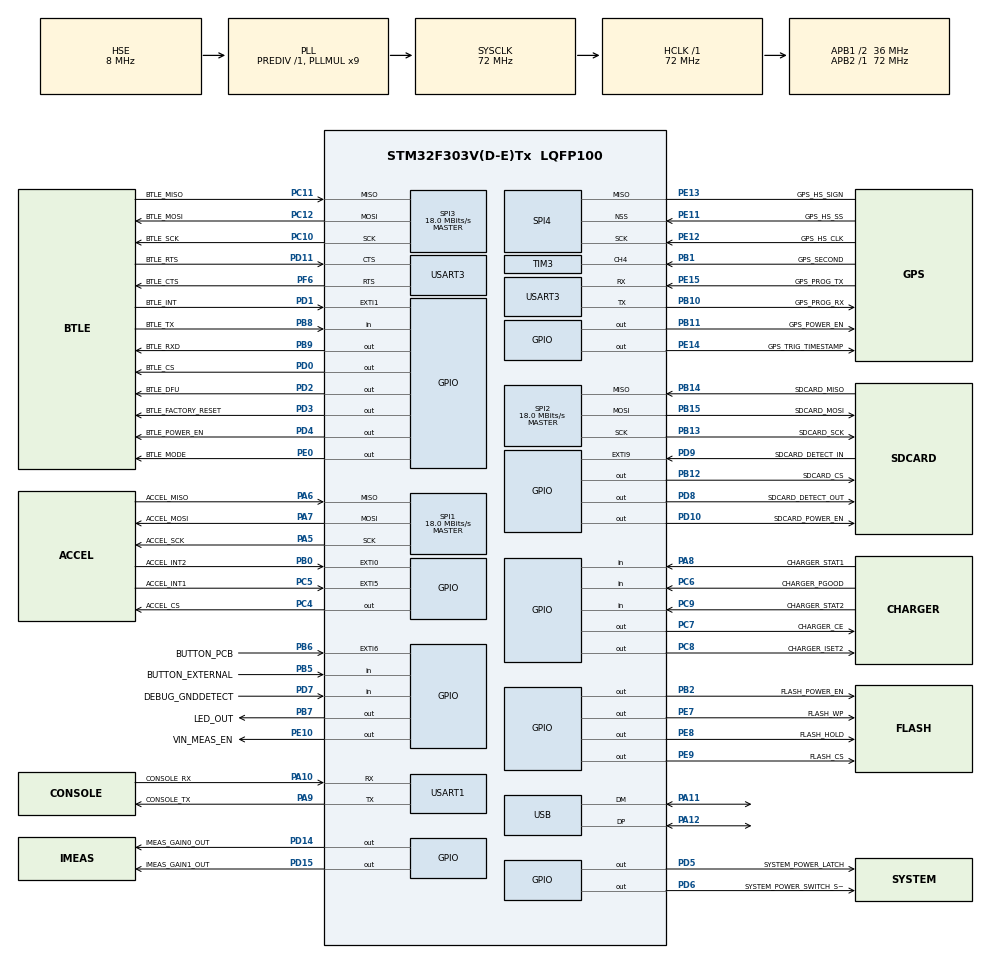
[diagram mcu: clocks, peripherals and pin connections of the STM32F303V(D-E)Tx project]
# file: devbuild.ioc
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ADC1.Channel-0\#ChannelRegularConversion=ADC_CHANNEL_TEMPSENSOR
ADC1.NbrOfConversionFlag=1
ADC1.Offset-0\#ChannelRegularConversion=0
ADC1.OffsetNumber-0\#ChannelRegularConversion=ADC_OFFSET_NONE
ADC1.Rank-0\#ChannelRegularConversion=1
ADC1.SamplingTime-0\#ChannelRegularConversion=ADC_SAMPLETIME_1CYCLE_5
ADC1.master=1
Mcu.Family=STM32F3
Mcu.Name=STM32F303V(D-E)Tx
Mcu.Package=LQFP100
NVIC.PriorityGroup=NVIC_PRIORITYGROUP_4
PA10.GPIO_Label=CONSOLE_RX
PA10.Mode=Asynchronous
PA10.Signal=USART1_RX
PA11.Mode=Device
PA11.Signal=USB_DM
PA12.Mode=Device
PA12.Signal=USB_DP
PA13.GPIO_Label=DEBUG_SWDIO_JTMS
PA13.Mode=Trace_Synchro_4bits_JTAG
PA13.Signal=SYS_JTMS-SWDIO
PA14.GPIO_Label=DEBUG_SWCLK_JTCK
PA14.Mode=Trace_Synchro_4bits_JTAG
PA14.Signal=SYS_JTCK-SWCLK
PA15.GPIO_Label=DEBUG_JTDI
PA15.Mode=Trace_Synchro_4bits_JTAG
PA15.Signal=SYS_JTDI
PA3.GPIO_Label=GPS_NMEA_TX
PA3.Signal=USART2_RX
PA5.GPIO_Label=ACCEL_SCK
PA5.Mode=Full_Duplex_Master
PA5.Signal=SPI1_SCK
PA6.GPIO_Label=ACCEL_MISO
PA6.Mode=Full_Duplex_Master
PA6.Signal=SPI1_MISO
PA7.GPIO_Label=ACCEL_MOSI
PA7.Mode=Full_Duplex_Master
PA7.Signal=SPI1_MOSI
PA8.GPIO_Label=CHARGER_STAT1
PA8.Signal=GPIO_Input
PA9.GPIO_Label=CONSOLE_TX
PA9.Mode=Asynchronous
PA9.Signal=USART1_TX
PB0.GPIO_Label=ACCEL_INT2
PB0.Signal=GPXTI0
PB1.GPIO_Label=GPS_SECOND
PB1.Signal=S_TIM3_CH4
PB10.GPIO_Label=GPS_PROG_RX
PB10.Mode=Asynchronous
PB10.Signal=USART3_TX
PB11.GPIO_Label=GPS_POWER_EN
PB11.Signal=GPIO_Output
PB12.GPIO_Label=SDCARD_CS
PB12.Signal=GPIO_Output
PB13.GPIO_Label=SDCARD_SCK
PB13.Mode=Full_Duplex_Master
PB13.Signal=SPI2_SCK
PB14.GPIO_Label=SDCARD_MISO
PB14.Mode=Full_Duplex_Master
PB14.Signal=SPI2_MISO
PB15.GPIO_Label=SDCARD_MOSI
PB15.Mode=Full_Duplex_Master
PB15.Signal=SPI2_MOSI
PB2.GPIO_Label=FLASH_POWER_EN
PB2.Signal=GPIO_Output
PB3.GPIO_Label=DEBUG_JTDO_TRACESWO
PB3.Mode=Trace_Synchro_4bits_JTAG
PB3.Signal=SYS_JTDO-TRACESWO
PB4.GPIO_Label=DEBUG_TRST
PB4.Signal=SYS_NJTRST
PB5.GPIO_Label=BUTTON_EXTERNAL
PB5.Signal=GPIO_Input
PB6.GPIO_Label=BUTTON_PCB
PB6.Signal=GPXTI6
PB7.GPIO_Label=LED_OUT
PB7.Signal=GPIO_Output
PB8.GPIO_Label=BTLE_TX
PB8.Signal=GPIO_Input
PB9.GPIO_Label=BTLE_RXD
PB9.Signal=GPIO_Output
PC10.GPIO_Label=BTLE_SCK
PC10.Mode=Full_Duplex_Master
PC10.Signal=SPI3_SCK
PC11.GPIO_Label=BTLE_MISO
PC11.Mode=Full_Duplex_Master
PC11.Signal=SPI3_MISO
PC12.GPIO_Label=BTLE_MOSI
PC12.Mode=Full_Duplex_Master
PC12.Signal=SPI3_MOSI
PC14-OSC32_IN.Mode=LSE-External-Oscillator
PC14-OSC32_IN.Signal=RCC_OSC32_IN
PC15-OSC32_OUT.Mode=LSE-External-Oscillator
PC15-OSC32_OUT.Signal=RCC_OSC32_OUT
PC4.GPIO_Label=ACCEL_CS
PC4.Signal=GPIO_Output
PC5.GPIO_Label=ACCEL_INT1
PC5.Signal=GPXTI5
PC6.GPIO_Label=CHARGER_PGOOD
PC6.Signal=GPIO_Input
PC7.GPIO_Label=CHARGER_CE
PC7.Signal=GPIO_Output
PC8.GPIO_Label=CHARGER_ISET2
PC8.Signal=GPIO_Output
PC9.GPIO_Label=CHARGER_STAT2
PC9.Signal=GPIO_Input
PD0.GPIO_Label=BTLE_CS
PD0.Signal=GPIO_Output
PD1.GPIO_Label=BTLE_INT
PD1.Signal=GPXTI1
PD10.GPIO_Label=SDCARD_POWER_EN
PD10.Signal=GPIO_Output
PD11.GPIO_Label=BTLE_RTS
PD11.Mode=CTS_RTS
PD11.Signal=USART3_CTS
PD12.GPIO_Label=VIN_MEAS_A2D
PD12.Signal=ADCx_IN9P
PD13.GPIO_Label=IMEAS_IN+
PD13.Signal=ADCx_IN10P
PD14.GPIO_Label=IMEAS_GAIN0_OUT
PD14.Signal=GPIO_Output
PD15.GPIO_Label=IMEAS_GAIN1_OUT
PD15.Signal=GPIO_Output
PD2.GPIO_Label=BTLE_DFU
PD2.Signal=GPIO_Output
PD3.GPIO_Label=BTLE_FACTORY_RESET
PD3.Signal=GPIO_Output
PD4.GPIO_Label=BTLE_POWER_EN
PD4.Signal=GPIO_Output
PD5.GPIO_Label=SYSTEM_POWER_LATCH
PD5.Signal=GPIO_Output
PD6.GPIO_Label=SYSTEM_POWER_SWITCH_STATE
PD6.Signal=GPIO_Output
PD7.GPIO_Label=DEBUG_GNDDETECT
PD7.Signal=GPIO_Input
PD8.GPIO_Label=SDCARD_DETECT_OUT
PD8.Signal=GPIO_Output
PD9.GPIO_Label=SDCARD_DETECT_IN
PD9.Signal=GPXTI9
PE0.GPIO_Label=BTLE_MODE
PE0.Signal=GPIO_Output
PE10.GPIO_Label=VIN_MEAS_EN
PE10.Signal=GPIO_Output
PE11.GPIO_Label=GPS_HS_SS
PE11.Mode=NSS_Signal_Hard_Input
PE11.Signal=SPI4_NSS
PE12.GPIO_Label=GPS_HS_CLK
PE12.Mode=Simplex_Bidirectional_Slave
PE12.Signal=SPI4_SCK
PE13.GPIO_Label=GPS_HS_SIGN
PE13.Mode=Simplex_Bidirectional_Slave
PE13.Signal=SPI4_MISO
PE14.GPIO_Label=GPS_TRIG_TIMESTAMP
PE14.Signal=GPIO_Output
PE15.GPIO_Label=GPS_PROG_TX
PE15.Mode=Asynchronous
PE15.Signal=USART3_RX
PE2.GPIO_Label=DEBUG_TRACECLK
PE2.Mode=Trace_Synchro_4bits_JTAG
PE2.Signal=SYS_TRACECK
PE3.GPIO_Label=DEBUG_TRACE_D0
PE3.Mode=Trace_Synchro_4bits_JTAG
PE3.Signal=SYS_TRACED0
PE4.GPIO_Label=DEBUG_TRACE_D1
PE4.Mode=Trace_Synchro_4bits_JTAG
PE4.Signal=SYS_TRACED1
PE5.GPIO_Label=DEBUG_TRACE_D2
PE5.Mode=Trace_Synchro_4bits_JTAG
PE5.Signal=SYS_TRACED2
PE6.GPIO_Label=DEBUG_TRACE_D3
PE6.Mode=Trace_Synchro_4bits_JTAG
PE6.Signal=SYS_TRACED3
PE7.GPIO_Label=FLASH_WP
PE7.Signal=GPIO_Output
PE8.GPIO_Label=FLASH_HOLD
PE8.Signal=GPIO_Output
PE9.GPIO_Label=FLASH_CS
PE9.Signal=GPIO_Output
PF0-OSC_IN.Mode=HSE-External-Oscillator
PF0-OSC_IN.Signal=RCC_OSC_IN
PF1-OSC_OUT.Mode=HSE-External-Oscillator
PF1-OSC_OUT.Signal=RCC_OSC_OUT
PF6.GPIO_Label=BTLE_CTS
PF6.Mode=CTS_RTS
PF6.Signal=USART3_RTS
ProjectManager.HeapSize=0x200
ProjectManager.StackSize=0x400
ProjectManager.TargetToolchain=MDK-ARM V5
RCC.AHBFreq_Value=72000000
RCC.APB1CLKDivider=RCC_HCLK_DIV2
RCC.APB1Freq_Value=36000000
RCC.APB1TimFreq_Value=72000000
RCC.APB2Freq_Value=72000000
RCC.APB2TimFreq_Value=72000000
RCC.CortexFreq_Value=72000000
RCC.HCLKFreq_Value=72000000
RCC.HSE_VALUE=8000000
RCC.HSIState=RCC_HSI_ON
RCC.HSI_VALUE=8000000
RCC.PLLMUL=RCC_PLL_MUL9
RCC.PRESCALERUSB=RCC_USBCLKSOURCE_PLL_DIV1_5
RCC.RTCClockSelection=RCC_RTCCLKSOURCE_LSE
RCC.SYSCLKFreq_VALUE=72000000
RCC.SYSCLKSourceVirtual=RCC_SYSCLKSOURCE_PLLCLK
RCC.USBFreq_Value=48000000
SH.ADCx_IN10P.0=ADC3_IN10
SH.ADCx_IN9P.0=ADC3_IN9
SH.S_TIM3_CH4.0=TIM3_CH4,Input_Capture4_from_TI4
SPI1.BaudRatePrescaler=SPI_BAUDRATEPRESCALER_4
SPI1.CalculateBaudRate=18.0 MBits/s
SPI1.DataSize=SPI_DATASIZE_8BIT
SPI1.Mode=SPI_MODE_MASTER
SPI2.CalculateBaudRate=18.0 MBits/s
SPI2.Mode=SPI_MODE_MASTER
SPI3.CalculateBaudRate=18.0 MBits/s
SPI3.Mode=SPI_MODE_MASTER
SPI4.Direction=SPI_DIRECTION_1LINE
SPI4.VirtualNSS=VM_NSSHARD
SPI4.VirtualType=VM_SLAVE
TIM3.Channel-Input_Capture4_from_TI4=TIM_CHANNEL_4
VP_ADC1_TempSens_Input.Mode=IN-TempSens
VP_ADC1_Vbat_Input.Mode=IN-Vbat
VP_ADC1_Vref_Input.Mode=IN-Vrefint
VP_FATFS_VS_Generic.Mode=User_defined
VP_RTC_VS_RTC_Alarm_A_Intern.Mode=Alarm A
VP_RTC_VS_RTC_WakeUp_intern.Mode=WakeUp
VP_TIM3_VS_ClockSourceINT.Mode=Internal
board=devbuild

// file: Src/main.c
/**
  ******************************************************************************
  * File Name          : main.c
  * Description        : Main program body
  ******************************************************************************
  *
  * COPYRIGHT(c) 2016 STMicroelectronics
  *
  * Redistribution and use in source and binary forms, with or without modification,
  * are permitted provided that the following conditions are met:
  *   1. Redistributions of source code must retain the above copyright notice,
  *      this list of conditions and the following disclaimer.
  *   2. Redistributions in binary form must reproduce the above copyright notice,
  *      this list of conditions and the following disclaimer in the documentation
  *      and/or other materials provided with the distribution.
  *   3. Neither the name of STMicroelectronics nor the names of its contributors
  *      may be used to endorse or promote products derived from this software
  *      without specific prior written permission.
  *
  * THIS SOFTWARE IS PROVIDED BY THE COPYRIGHT HOLDERS AND CONTRIBUTORS "AS IS"
  * AND ANY EXPRESS OR IMPLIED WARRANTIES, INCLUDING, BUT NOT LIMITED TO, THE
  * IMPLIED WARRANTIES OF MERCHANTABILITY AND FITNESS FOR A PARTICULAR PURPOSE ARE
  * DISCLAIMED. IN NO EVENT SHALL THE COPYRIGHT HOLDER OR CONTRIBUTORS BE LIABLE
  * FOR ANY DIRECT, INDIRECT, INCIDENTAL, SPECIAL, EXEMPLARY, OR CONSEQUENTIAL
  * DAMAGES (INCLUDING, BUT NOT LIMITED TO, PROCUREMENT OF SUBSTITUTE GOODS OR
  * SERVICES; LOSS OF USE, DATA, OR PROFITS; OR BUSINESS INTERRUPTION) HOWEVER
  * CAUSED AND ON ANY THEORY OF LIABILITY, WHETHER IN CONTRACT, STRICT LIABILITY,
  * OR TORT (INCLUDING NEGLIGENCE OR OTHERWISE) ARISING IN ANY WAY OUT OF THE USE
  * OF THIS SOFTWARE, EVEN IF ADVISED OF THE POSSIBILITY OF SUCH DAMAGE.
  *
  ******************************************************************************
  */
#include "stm32f3xx_hal.h"
#include "adc.h"
#include "fatfs.h"
#include "rtc.h"
#include "spi.h"
#include "tim.h"
#include "usart.h"
#include "usb.h"
#include "gpio.h"

/* USER CODE BEGIN Includes */
#include "cmsis_os.h"

/* USER CODE END Includes */

/* USER CODE BEGIN PV */
/* Private variables ---------------------------------------------------------*/

/* USER CODE END PV */

void SystemClock_Config(void);
void Error_Handler(void);

/* USER CODE BEGIN PFP */
/* Private function prototypes -----------------------------------------------*/

/* USER CODE END PFP */

/* USER CODE BEGIN 0 */

// Here is a new comment

void job1 (void const *argument) {
  // Function 'job1'
  FATFS Fatfs;		/* File system object */
  FIL Fil;		/* File object */
  FRESULT rc;
  RTC_TimeTypeDef t;
  volatile int i;
  if (__HAL_RCC_SPI2_IS_CLK_ENABLED()) {
    printf("Clock is rockin\n");
  }
  else {
    printf("clock is not a rockin\n");
  }
  rc = f_mount(&Fatfs,"",1);		/* Register volume work area (never fails) */
  printf("Mount Status: ");
  print_disk_error(rc);
  rc = f_open(&Fil, "message.txt", FA_READ);
  printf("Read Status: ");
  print_disk_error(rc);
  HAL_RTC_MspInit(&hrtc);

  /* Get RTC Time */

  for (i = 0; i < 9; i++) {
    osDelay(1000);
    HAL_RTC_GetTime(&hrtc, &t, RTC_FORMAT_BIN);
    printf("%d Seconds = %d\n", i, t.Seconds);
  }

  while (1) {
    // printf("Hello World\n\r");
    osDelay (1000); // Delay execution for 1s
  }
}

osThreadDef(job1, osPriorityLow, 1, 0); // Define job1 as thread

/* USER CODE END 0 */

// Test comment

int main(void) {

  /* MCU Configuration----------------------------------------------------------*/

  /* Reset of all peripherals, Initializes the Flash interface and the Systick. */
  HAL_Init();

  /* Configure the system clock */

  SystemClock_Config();

  /* Initialize all configured peripherals */
  MX_GPIO_Init();
  MX_ADC1_Init();
  MX_RTC_Init();
  MX_SPI1_Init();
  MX_SPI2_Init();
  MX_SPI3_Init();
  MX_SPI4_Init();
  MX_TIM3_Init();
  MX_USART1_UART_Init();
  MX_USART3_UART_Init();
  MX_USB_PCD_Init();
  MX_FATFS_Init();

  /* USER CODE BEGIN 2 */
  printf("Here it is ... \n");
  osKernelInitialize (); // Initialize RTOS kernel
  osThreadCreate (osThread(job1), NULL); // Create the thread
  osKernelStart (); // Start kernel & job1 thread

  /* USER CODE END 2 */

  /* Infinite loop */
  while (1) {

  /* USER CODE BEGIN 3 */
    osDelay (1000); // Delay execution for 1s
  }
  /* USER CODE END 3 */

}

/** System Clock Configuration
*/
void SystemClock_Config(void) {
  RCC_OscInitTypeDef RCC_OscInitStruct;
  RCC_ClkInitTypeDef RCC_ClkInitStruct;
  RCC_PeriphCLKInitTypeDef PeriphClkInit;

  RCC_OscInitStruct.OscillatorType = RCC_OSCILLATORTYPE_HSE|RCC_OSCILLATORTYPE_LSE;
  RCC_OscInitStruct.HSEState = RCC_HSE_ON;
  RCC_OscInitStruct.LSEState = RCC_LSE_ON;
  RCC_OscInitStruct.PLL.PLLState = RCC_PLL_ON;
  RCC_OscInitStruct.PLL.PLLSource = RCC_PLLSOURCE_HSE;
  RCC_OscInitStruct.PLL.PLLMUL = RCC_PLL_MUL9;
  RCC_OscInitStruct.PLL.PREDIV = RCC_PREDIV_DIV1;
  if (HAL_RCC_OscConfig(&RCC_OscInitStruct) != HAL_OK) {
    Error_Handler();
  }

  RCC_ClkInitStruct.ClockType = RCC_CLOCKTYPE_HCLK|RCC_CLOCKTYPE_SYSCLK
                              |RCC_CLOCKTYPE_PCLK1|RCC_CLOCKTYPE_PCLK2;
  RCC_ClkInitStruct.SYSCLKSource = RCC_SYSCLKSOURCE_PLLCLK;
  RCC_ClkInitStruct.AHBCLKDivider = RCC_SYSCLK_DIV1;
  RCC_ClkInitStruct.APB1CLKDivider = RCC_HCLK_DIV2;
  RCC_ClkInitStruct.APB2CLKDivider = RCC_HCLK_DIV1;
  if (HAL_RCC_ClockConfig(&RCC_ClkInitStruct, FLASH_LATENCY_2) != HAL_OK)
  {
    Error_Handler();
  }

  PeriphClkInit.PeriphClockSelection = RCC_PERIPHCLK_USB|RCC_PERIPHCLK_USART1
                              |RCC_PERIPHCLK_USART3|RCC_PERIPHCLK_RTC
                              |RCC_PERIPHCLK_ADC12|RCC_PERIPHCLK_TIM34;
  PeriphClkInit.Usart1ClockSelection = RCC_USART1CLKSOURCE_PCLK2;
  PeriphClkInit.Usart3ClockSelection = RCC_USART3CLKSOURCE_PCLK1;
  PeriphClkInit.Adc12ClockSelection = RCC_ADC12PLLCLK_DIV1;
  PeriphClkInit.RTCClockSelection = RCC_RTCCLKSOURCE_LSE;
  PeriphClkInit.USBClockSelection = RCC_USBCLKSOURCE_PLL_DIV1_5;
  PeriphClkInit.Tim34ClockSelection = RCC_TIM34CLK_HCLK;
  if (HAL_RCCEx_PeriphCLKConfig(&PeriphClkInit) != HAL_OK)
  {
    Error_Handler();
  }

  HAL_SYSTICK_Config(HAL_RCC_GetHCLKFreq()/1000);

  HAL_SYSTICK_CLKSourceConfig(SYSTICK_CLKSOURCE_HCLK);

  /* SysTick_IRQn interrupt configuration */
  HAL_NVIC_SetPriority(SysTick_IRQn, 0, 0);
}

void Error_Handler(void)
{
  while(1)
  {
  }
}

/************************ (C) COPYRIGHT STMicroelectronics *****END OF FILE****/
